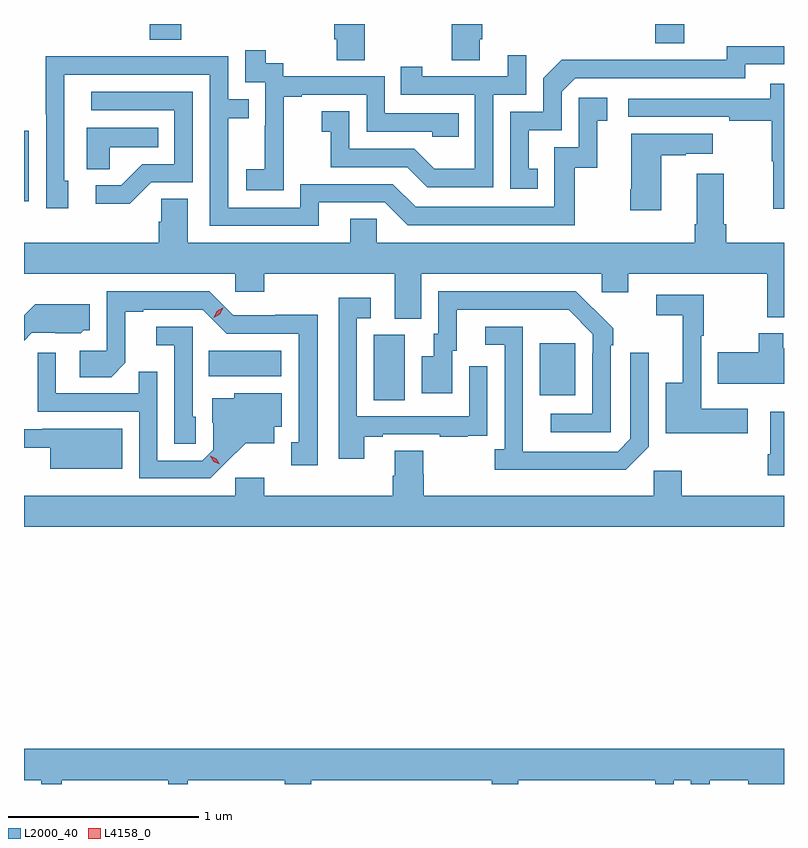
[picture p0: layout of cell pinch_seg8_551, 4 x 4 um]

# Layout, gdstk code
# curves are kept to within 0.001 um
import gdstk
lib = gdstk.Library(unit=1e-6, precision=1e-09)
def R(c, l, rs):  # rectangles x0, y0, x1, y1
    for r in rs: c.add(gdstk.rectangle(r[:2], r[2:], *l))
def P(c, l, *ps):  # polygons
    for p in ps: c.add(gdstk.Polygon(p, *l))
L2000_40 = (2000, 40)
L4158_0 = (4158, 0)

pinch_seg8_551 = lib.new_cell('pinch_seg8_551')
R(pinch_seg8_551, L2000_40, [(137.126,1122.496,137.29,1122.84), (137.999,1122.521,138.187,1122.796), (136.258,1122.62,136.639,1122.754), (135.285,1123.542,135.309,1123.912), (138.608,1124.375,138.76,1124.475), (135.947,1124.393,136.112,1124.475)])
P(pinch_seg8_551, L2000_40, [(137.079,1124.475),(136.919,1124.475),(136.919,1124.394),(136.931,1124.394),(136.931,1124.284),(137.079,1124.284)],
  [(137.683,1124.394),(137.696,1124.394),(137.696,1124.475),(137.536,1124.475),(137.536,1124.284),(137.683,1124.284)],
  [(137.99,1123.713),(137.941,1123.713),(137.941,1123.917),(138.114,1123.917),(138.114,1124.118),(138.186,1124.19),(139.08,1124.19),(139.08,1124.262),(139.285,1124.262),(139.285,1124.359),(138.984,1124.359),(138.984,1124.286),(138.524,1124.286),(138.524,1124.288),(138.116,1124.288),(138.018,1124.19),(138.018,1124.013),(137.844,1124.013),(137.844,1123.608),(137.99,1123.608)],
  [(136.653,1123.807),(136.652,1123.807),(136.652,1124.091),(136.747,1124.091),(136.747,1124.103),(137.088,1124.103),(137.088,1123.908),(137.433,1123.908),(137.433,1123.881),(137.573,1123.881),(137.573,1124.004),(137.184,1124.004),(137.184,1124.199),(136.65,1124.199),(136.65,1124.268),(136.558,1124.268),(136.558,1124.338),(136.449,1124.338),(136.449,1124.169),(136.554,1124.169),(136.554,1123.94),(136.553,1123.94),(136.553,1123.711),(136.455,1123.711),(136.455,1123.601),(136.653,1123.601)],
  [(137.754,1124.103),(137.928,1124.103),(137.928,1124.311),(137.831,1124.311),(137.831,1124.199),(137.38,1124.199),(137.38,1124.251),(137.269,1124.251),(137.269,1124.103),(137.658,1124.103),(137.658,1123.714),(137.444,1123.714),(137.34,1123.818),(136.998,1123.818),(136.998,1124.017),(136.851,1124.017),(136.851,1123.907),(136.9,1123.907),(136.9,1123.722),(137.303,1123.722),(137.408,1123.617),(137.754,1123.617)],
  [(136.837,1123.536),(137.184,1123.536),(137.304,1123.416),(138.184,1123.416),(138.184,1123.719),(138.302,1123.719),(138.302,1123.965),(138.355,1123.965),(138.355,1124.086),(138.204,1124.086),(138.204,1123.827),(138.075,1123.827),(138.075,1123.512),(137.346,1123.512),(137.226,1123.632),(136.74,1123.632),(136.74,1123.509),(136.359,1123.509),(136.359,1123.978),(136.469,1123.978),(136.469,1124.079),(136.359,1124.079),(136.359,1124.304),(135.863,1124.304),(135.863,1124.306),(135.4,1124.306),(135.4,1123.999),(135.402,1123.999),(135.402,1123.506),(135.517,1123.506),(135.517,1123.65),(135.498,1123.65),(135.498,1124.208),(136.263,1124.208),(136.263,1123.413),(136.837,1123.413)],
  [(139.285,1124.161),(139.213,1124.161),(139.213,1124.082),(138.465,1124.082),(138.465,1123.986),(138.997,1123.986),(138.997,1123.966),(139.221,1123.966),(139.221,1123.752),(139.228,1123.752),(139.228,1123.503),(139.285,1123.503)],
  [(135.954,1123.641),(136.173,1123.641),(136.173,1124.118),(135.639,1124.118),(135.639,1124.022),(136.077,1124.022),(136.077,1123.737),(135.908,1123.737),(135.797,1123.626),(135.663,1123.626),(135.663,1123.529),(135.841,1123.529)],
  [(135.735,1123.826),(135.992,1123.826),(135.992,1123.93),(135.614,1123.93),(135.614,1123.711),(135.735,1123.711)],
  [(138.64,1123.783),(138.767,1123.783),(138.767,1123.793),(138.91,1123.793),(138.91,1123.897),(138.482,1123.897),(138.482,1123.606),(138.475,1123.606),(138.475,1123.494),(138.64,1123.494)],
  [(137.377,1123.16),(138.327,1123.16),(138.327,1123.062),(138.466,1123.062),(138.466,1123.16),(139.197,1123.16),(139.197,1122.932),(139.285,1122.932),(139.285,1123.324),(138.98,1123.324),(138.98,1123.42),(138.967,1123.42),(138.967,1123.687),(138.827,1123.687),(138.827,1123.42),(138.815,1123.42),(138.815,1123.324),(137.142,1123.324),(137.142,1123.451),(137.003,1123.451),(137.003,1123.324),(136.147,1123.324),(136.147,1123.556),(136.008,1123.556),(136.008,1123.433),(135.995,1123.433),(135.995,1123.324),(135.285,1123.324),(135.285,1123.16),(136.398,1123.16),(136.398,1123.067),(136.55,1123.067),(136.55,1123.16),(137.237,1123.16),(137.237,1122.925),(137.377,1122.925)],
  [(138.372,1122.785),(138.387,1122.785),(138.387,1122.873),(138.19,1123.068),(137.466,1123.068),(137.466,1122.846),(137.441,1122.846),(137.441,1122.727),(137.378,1122.727),(137.378,1122.531),(137.539,1122.531),(137.539,1122.756),(137.563,1122.756),(137.563,1122.972),(138.151,1122.972),(138.279,1122.843),(138.279,1122.743),(138.276,1122.743),(138.276,1122.423),(138.057,1122.423),(138.057,1122.327),(138.372,1122.327)],
  [(136.831,1122.944),(136.608,1122.944),(136.608,1122.942),(136.386,1122.942),(136.26,1123.068),(135.72,1123.068),(135.72,1122.756),(135.579,1122.756),(135.579,1122.616),(135.743,1122.616),(135.819,1122.692),(135.819,1122.96),(135.913,1122.96),(135.913,1122.972),(136.227,1122.972),(136.353,1122.846),(136.73,1122.846),(136.73,1122.273),(136.691,1122.273),(136.691,1122.153),(136.831,1122.153)],
  [(139.093,1122.451),(138.849,1122.451),(138.849,1122.835),(138.862,1122.835),(138.862,1123.05),(138.612,1123.05),(138.612,1122.942),(138.752,1122.942),(138.752,1122.586),(138.662,1122.586),(138.662,1122.322),(139.093,1122.322)],
  [(137.077,1122.303),(137.173,1122.303),(137.173,1122.315),(137.473,1122.315),(137.473,1122.303),(137.621,1122.303),(137.621,1122.309),(137.723,1122.309),(137.723,1122.418),(137.724,1122.418),(137.724,1122.673),(137.628,1122.673),(137.628,1122.411),(137.037,1122.411),(137.037,1122.927),(137.11,1122.927),(137.11,1123.033),(136.941,1123.033),(136.941,1122.186),(137.077,1122.186)],
  [(135.327,1122.849),(135.45,1122.849),(135.45,1122.848),(135.584,1122.848),(135.6,1122.864),(135.631,1122.864),(135.631,1123),(135.343,1123),(135.285,1122.941),(135.285,1122.807)],
  [(136.188,1122.408),(136.173,1122.408),(136.173,1122.882),(135.981,1122.882),(135.981,1122.785),(136.077,1122.785),(136.077,1122.265),(136.188,1122.265)],
  [(138.573,1122.249),(138.573,1122.745),(138.477,1122.745),(138.477,1122.291),(138.411,1122.225),(137.911,1122.225),(137.91,1122.882),(137.712,1122.882),(137.712,1122.786),(137.814,1122.786),(137.814,1122.238),(137.763,1122.238),(137.763,1122.128),(138.452,1122.128)],
  [(139.285,1122.769),(139.282,1122.769),(139.282,1122.847),(139.153,1122.847),(139.153,1122.747),(138.936,1122.747),(138.936,1122.581),(139.285,1122.581)],
  [(136.348,1122.167),(136.451,1122.269),(136.603,1122.269),(136.603,1122.356),(136.642,1122.356),(136.642,1122.532),(136.392,1122.532),(136.392,1122.505),(136.277,1122.505),(136.277,1122.376),(136.281,1122.376),(136.281,1122.234),(136.224,1122.177),(135.987,1122.177),(135.987,1122.644),(135.889,1122.644),(135.889,1122.531),(135.453,1122.531),(135.453,1122.745),(135.357,1122.745),(135.357,1122.435),(135.891,1122.435),(135.891,1122.084),(136.264,1122.084)],
  [(139.285,1122.433),(139.212,1122.433),(139.212,1122.211),(139.2,1122.211),(139.2,1122.099),(139.285,1122.099)],
  [(135.802,1122.346),(135.382,1122.346),(135.382,1122.342),(135.285,1122.342),(135.285,1122.245),(135.422,1122.245),(135.422,1122.134),(135.802,1122.134)],
  [(139.285,1121.992),(138.747,1121.992),(138.747,1122.124),(138.6,1122.124),(138.6,1121.992),(137.39,1121.992),(137.39,1122.105),(137.385,1122.105),(137.385,1122.23),(137.237,1122.23),(137.237,1122.098),(137.225,1122.098),(137.225,1121.992),(136.55,1121.992),(136.55,1122.088),(136.398,1122.088),(136.398,1121.992),(135.285,1121.992),(135.285,1121.828),(139.285,1121.828)],
  [(135.484,1120.496),(136.043,1120.496),(136.043,1120.475),(136.147,1120.475),(136.147,1120.496),(136.658,1120.496),(136.658,1120.475),(136.797,1120.475),(136.797,1120.496),(137.747,1120.496),(137.747,1120.475),(137.887,1120.475),(137.887,1120.496),(138.608,1120.496),(138.608,1120.475),(138.705,1120.475),(138.705,1120.496),(138.795,1120.496),(138.795,1120.475),(138.893,1120.475),(138.893,1120.496),(139.097,1120.496),(139.097,1120.475),(139.285,1120.475),(139.285,1120.66),(135.285,1120.66),(135.285,1120.496),(135.377,1120.496),(135.377,1120.475),(135.484,1120.475)])
P(pinch_seg8_551, L4158_0, [(136.283,1122.929),(136.283,1122.93),(136.3,1122.962),(136.332,1122.981),(136.333,1122.981),(136.333,1122.981),(136.315,1122.948),(136.283,1122.929)],
  [(136.314,1122.158),(136.283,1122.172),(136.265,1122.201),(136.265,1122.202),(136.266,1122.202),(136.296,1122.187),(136.314,1122.158),(136.314,1122.158)])

lib.write_gds('pinch_seg8_551.gds')
